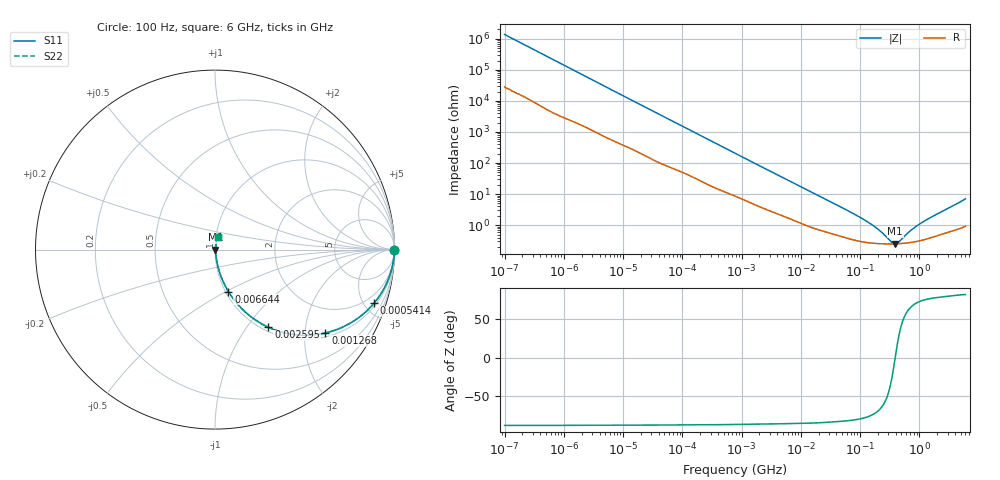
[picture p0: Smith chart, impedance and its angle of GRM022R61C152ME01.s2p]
!Murata Part Number: GRM022R61C152ME01
!These Parameters are Measured in Series Mode Connection
!Data Generated on Mar 30, 2021
!  o--ll--o
!Port1  Port2
!  o------o
!Operation Temp=25[degC], DC Bias Voltage=0[V]
!Freq. Start=100[Hz] Stop=6[GHz] 401[Steps]
# Hz S RI R 50
!Freq.(Hz) S11(Real) S11(Imag) S21(Real) S21(Imag) S12(Real) S12(Imag) S22(Real) S22(Imag)
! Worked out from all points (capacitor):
!   401 points, 100 Hz to 6 GHz, reference 50 ohm
!   read as one part in series: C = 1.15 nF near 109 Hz
!   lowest |Z| = 251 mohm at 390.8 MHz (marker M1)
!   series resonance near 392.5 MHz, so ESL is about 140 pH
!   S11 on the Smith chart (normalised r, x): 100 Hz: open; 541.4 kHz: 1.23, -5.85; 1.268 MHz: 1.12, -2.56; 2.595 MHz: 1.06, -1.27; 6.644 MHz: 1.03, -0.51; 6 GHz: 1.02, +0.14
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100  1 -7.25e-05  1.5e-06 7.25e-05  1.5e-06 7.25e-05  1 -7.25e-05
150  1 -0.000108  2.2e-06 0.000108  2.2e-06 0.000108  1 -0.000108
2008  1 -0.0014  3.41e-05 0.0014  3.41e-05 0.0014  1 -0.0014
40335  0.9985 -0.0268  0.00146 0.0268  0.00146 0.0268  0.9985 -0.0268
176758  0.9834 -0.1118  0.0166 0.1118  0.0166 0.1118  0.9834 -0.1118
541393  0.8862 -0.2987  0.1138 0.2987  0.1138 0.2987  0.8862 -0.2987
774597  0.8 -0.3795  0.2 0.3795  0.2 0.3795  0.8 -0.3795
1267578  0.6156 -0.4645  0.3844 0.4645  0.3844 0.4645  0.6156 -0.4645
1813585  0.4513 -0.4746  0.5487 0.4746  0.5487 0.4746  0.4513 -0.4746
2594782  0.2979 -0.4329  0.7021 0.4329  0.7021 0.4329  0.2979 -0.4329
4060267  0.1592 -0.3389  0.8408 0.3389  0.8408 0.3389  0.1592 -0.3389
6644369  0.0746 -0.2337  0.9254 0.2337  0.9254 0.2337  0.0746 -0.2337
1.555665e7  0.0204 -0.1094  0.9796 0.1094  0.9796 0.1094  0.0204 -0.1094
1.220122e8  0.00299 -0.0139  0.997 0.0139  0.997 0.0139  0.00299 -0.0139
1.996653e8  0.00259 -0.00702  0.9974 0.00702  0.9974 0.00702  0.00259 -0.00702
3.124326e8  0.00249 -0.00222  0.9975 0.00222  0.9975 0.00222  0.00249 -0.00222
3.573489e8  0.00249 -0.000905  0.9975 0.000905  0.9975 0.000905  0.00249 -0.000905
3.908258e8  0.0025 -3.94e-05  0.9975 3.94e-05  0.9975 3.94e-05  0.0025 -3.94e-05
4.470121e8  0.00253 0.00126  0.9975 -0.00126  0.9975 -0.00126  0.00253 0.00126
6.994765e8  0.00278 0.00584  0.9972 -0.00584  0.9972 -0.00584  0.00278 0.00584
1.094528e9  0.00336 0.0115  0.9966 -0.0115  0.9966 -0.0115  0.00336 0.0115
6e9  0.0139 0.0683  0.9861 -0.0683  0.9861 -0.0683  0.0139 0.0683
